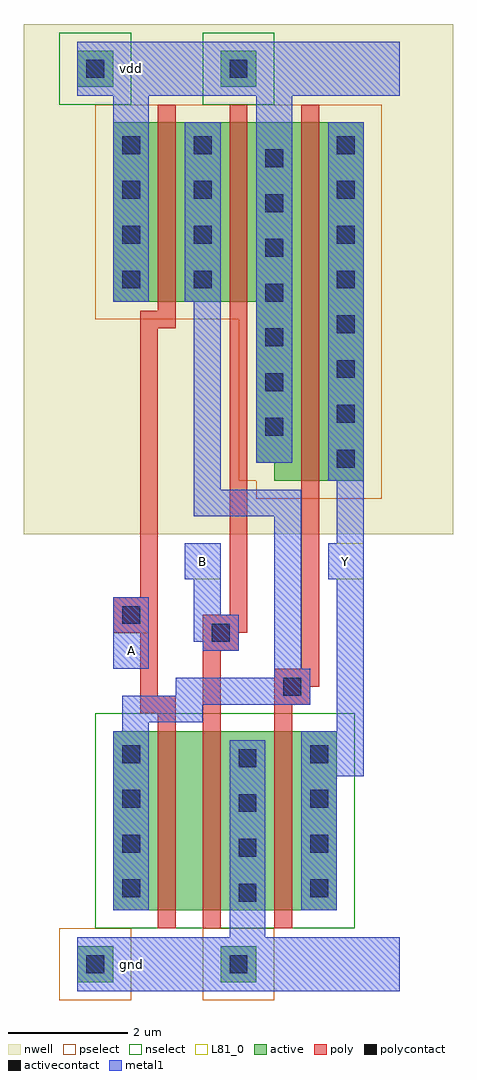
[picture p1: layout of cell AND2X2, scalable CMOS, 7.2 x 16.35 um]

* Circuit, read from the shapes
.subckt AND2X2 A B Y gnd vdd
M1 n1 A n2 gnd nfet w=3u l=0.3u
M2 gnd B n1 gnd nfet w=3u l=0.3u
M3 Y n2 gnd gnd nfet w=3u l=0.3u
M4 n2 A vdd vdd pfet w=3u l=0.3u
M5 vdd B n2 vdd pfet w=3u l=0.3u
M6 Y n2 vdd vdd pfet w=6u l=0.3u
.ends

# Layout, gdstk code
import gdstk
lib = gdstk.Library(unit=1e-6, precision=1e-09)
def R(c, l, rs):  # rectangles x0, y0, x1, y1
    for r in rs: c.add(gdstk.rectangle(r[:2], r[2:], *l))
def A(c, l, x, y, w, h, nx, ny, dx, dy):  # array of equal rectangles
    R(c, l, [(x+i*dx, y+j*dy, x+i*dx+w, y+j*dy+h) for i in range(nx) for j in range(ny)])
nwell = (42, 0)
active = (43, 0)
pselect = (44, 0)
nselect = (45, 0)
poly = (46, 0)
polycontact = (47, 0)
activecontact = (48, 0)
metal1 = (49, 0)
L81_0 = (81, 0)

and2x2 = lib.new_cell('AND2X2')
R(and2x2, nwell, [(-1.2,7.2,6,15.75)])
R(and2x2, active, [(-0.3,-0.3,0.3,0.3), (2.1,-0.3,2.7,0.3), (0.3,0.9,4.05,3.9), (3,8.1,4.5,8.4), (2.7,8.4,4.5,11.1), (0.3,11.1,4.5,14.1), (-0.3,14.7,0.3,15.3), (2.1,14.7,2.7,15.3)])
R(and2x2, pselect, [(-0.6,-0.6,0.6,0.6), (1.8,-0.6,3,0.6), (2.7,7.8,4.8,8.1), (2.4,8.1,4.8,10.8), (0,10.8,4.8,14.4)])
R(and2x2, nselect, [(0,0.6,4.35,4.2), (-0.6,14.4,0.6,15.6), (1.8,14.4,3,15.6)])
R(and2x2, poly, [(1.05,0.6,1.35,4.2), (1.8,0.6,2.1,5.25), (3,0.6,3.3,4.35), (0.75,4.2,1.35,4.5), (3,4.35,3.6,4.65), (0.75,4.5,1.05,5.55), (3,4.65,3.75,4.95), (3.45,4.95,3.75,14.4), (1.8,5.25,2.4,5.55), (0.3,5.55,1.05,6.15), (1.8,5.55,2.55,5.85), (2.25,5.85,2.55,14.4), (0.75,6.15,1.05,10.65), (0.75,10.65,1.35,10.95), (1.05,10.95,1.35,14.4)])
R(and2x2, polycontact, [(3.15,4.5,3.45,4.8), (1.95,5.4,2.25,5.7), (0.45,5.7,0.75,6)])
A(and2x2, activecontact, 2.4, 1.05, 0.3, 0.3, 1, 4, 0, 0.75)
A(and2x2, activecontact, 0.45, 1.12, 0.3, 0.3, 1, 4, 0, 0.75)
A(and2x2, activecontact, 3.6, 1.12, 0.3, 0.3, 1, 4, 0, 0.75)
A(and2x2, activecontact, 4.05, 8.32, 0.3, 0.3, 1, 8, 0, 0.75)
A(and2x2, activecontact, 2.85, 8.85, 0.3, 0.3, 1, 7, 0, 0.75)
A(and2x2, activecontact, 0.45, 11.32, 0.3, 0.3, 1, 4, 0, 0.75)
A(and2x2, activecontact, 1.65, 11.32, 0.3, 0.3, 1, 4, 0, 0.75)
R(and2x2, activecontact, [(-0.15,-0.15,0.15,0.15), (2.25,-0.15,2.55,0.15), (-0.15,14.85,0.15,15.15), (2.25,14.85,2.55,15.15)])
R(and2x2, metal1, [(-0.3,-0.45,5.1,0.45), (2.25,0.45,2.85,3.75), (0.3,0.9,0.9,3.9), (3.45,0.9,4.05,3.15), (3.45,3.15,4.5,3.9), (0.45,3.9,0.9,4.05), (4.05,3.9,4.5,6.45), (0.45,4.05,1.8,4.35), (0.45,4.35,3.6,4.5), (1.35,4.5,3.6,4.8), (3,4.8,3.6,4.95), (0.3,4.95,0.9,6.15), (3,4.95,3.45,7.5), (1.8,5.25,2.4,5.4), (1.65,5.4,2.4,5.85), (1.65,5.85,2.1,6.45), (1.5,6.45,2.1,7.05), (3.9,6.45,4.5,7.05), (4.05,7.05,4.5,8.1), (1.65,7.5,3.45,7.95), (1.65,7.95,2.1,11.1), (3.9,8.1,4.5,14.1), (2.7,8.4,3.3,14.55), (0.3,11.1,0.9,14.55), (1.5,11.1,2.1,14.1), (-0.3,14.55,5.1,15.45)])
R(and2x2, L81_0, [(0.3,4.95,0.9,5.55), (1.5,6.45,2.1,7.05), (3.9,6.45,4.5,7.05)])
and2x2.add(gdstk.Label('vdd', (0.6,15), layer=109, texttype=0))
and2x2.add(gdstk.Label('gnd', (0.6,0), layer=109, texttype=0))
and2x2.add(gdstk.Label('A', (0.6,5.25), layer=109, texttype=0))
and2x2.add(gdstk.Label('B', (1.8,6.75), layer=109, texttype=0))
and2x2.add(gdstk.Label('Y', (4.2,6.75), layer=109, texttype=0))

lib.write_gds('AND2X2.gds')
